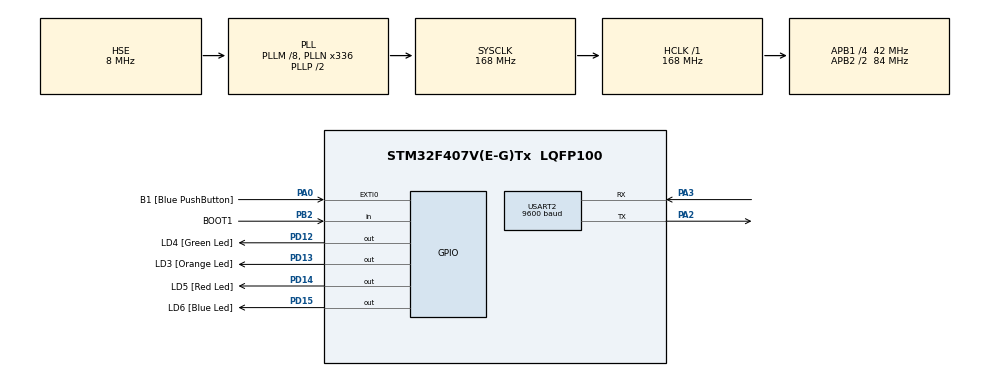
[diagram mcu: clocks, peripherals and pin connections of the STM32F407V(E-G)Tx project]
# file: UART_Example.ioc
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Mcu.Family=STM32F4
Mcu.Name=STM32F407V(E-G)Tx
Mcu.Package=LQFP100
NVIC.PriorityGroup=NVIC_PRIORITYGROUP_0
NVIC.TIM4_IRQn=true\:0\:0\:false\:false\:true\:true\:true\:true
NVIC.USART2_IRQn=true\:0\:0\:false\:false\:true\:true\:true\:true
PA0-WKUP.GPIO_Label=B1 [Blue PushButton]
PA0-WKUP.GPIO_ModeDefaultEXTI=GPIO_MODE_EVT_RISING
PA0-WKUP.GPIO_PuPd=GPIO_NOPULL
PA0-WKUP.Signal=GPXTI0
PA2.Mode=Asynchronous
PA2.Signal=USART2_TX
PA3.Mode=Asynchronous
PA3.Signal=USART2_RX
PB2.GPIO_Label=BOOT1
PB2.GPIO_Mode=GPIO_MODE_INPUT
PB2.GPIO_PuPd=GPIO_NOPULL
PB2.Signal=GPIO_Input
PC14-OSC32_IN.GPIO_Label=PC14-OSC32_IN
PC14-OSC32_IN.Mode=LSE-External-Oscillator
PC14-OSC32_IN.Signal=RCC_OSC32_IN
PC15-OSC32_OUT.GPIO_Label=PC15-OSC32_OUT
PC15-OSC32_OUT.Mode=LSE-External-Oscillator
PC15-OSC32_OUT.Signal=RCC_OSC32_OUT
PD12.GPIO_Label=LD4 [Green Led]
PD12.GPIO_PuPd=GPIO_NOPULL
PD12.GPIO_Speed=GPIO_SPEED_FREQ_LOW
PD12.Signal=GPIO_Output
PD13.GPIO_Label=LD3 [Orange Led]
PD13.GPIO_PuPd=GPIO_NOPULL
PD13.GPIO_Speed=GPIO_SPEED_FREQ_LOW
PD13.Signal=GPIO_Output
PD14.GPIO_Label=LD5 [Red Led]
PD14.GPIO_PuPd=GPIO_NOPULL
PD14.GPIO_Speed=GPIO_SPEED_FREQ_LOW
PD14.Signal=GPIO_Output
PD15.GPIO_Label=LD6 [Blue Led]
PD15.GPIO_PuPd=GPIO_NOPULL
PD15.GPIO_Speed=GPIO_SPEED_FREQ_LOW
PD15.Signal=GPIO_Output
PH0-OSC_IN.GPIO_Label=PH0-OSC_IN
PH0-OSC_IN.Mode=HSE-External-Oscillator
PH0-OSC_IN.Signal=RCC_OSC_IN
PH1-OSC_OUT.GPIO_Label=PH1-OSC_OUT
PH1-OSC_OUT.Mode=HSE-External-Oscillator
PH1-OSC_OUT.Signal=RCC_OSC_OUT
ProjectManager.HeapSize=0x200
ProjectManager.StackSize=0x400
ProjectManager.TargetToolchain=STM32CubeIDE
RCC.48MHZClocksFreq_Value=48000000
RCC.AHBFreq_Value=168000000
RCC.APB1CLKDivider=RCC_HCLK_DIV4
RCC.APB1Freq_Value=42000000
RCC.APB1TimFreq_Value=84000000
RCC.APB2CLKDivider=RCC_HCLK_DIV2
RCC.APB2Freq_Value=84000000
RCC.APB2TimFreq_Value=168000000
RCC.CortexFreq_Value=168000000
RCC.HCLKFreq_Value=168000000
RCC.HSE_VALUE=8000000
RCC.HSI_VALUE=16000000
RCC.PLLM=8
RCC.PLLN=336
RCC.PLLQ=7
RCC.PLLSourceVirtual=RCC_PLLSOURCE_HSE
RCC.SYSCLKFreq_VALUE=168000000
RCC.SYSCLKSource=RCC_SYSCLKSOURCE_PLLCLK
RCC.VCOOutputFreq_Value=336000000
TIM4.Period=8
TIM4.Prescaler=4200
USART2.BaudRate=9600
USART2.VirtualMode=VM_ASYNC
VP_TIM4_VS_ClockSourceINT.Mode=Internal
board=STM32F407G-DISC1

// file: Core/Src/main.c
/* USER CODE BEGIN Header */
/**
  ******************************************************************************
  * @file           : main.c
  * @brief          : Main program body
  ******************************************************************************
  * @attention
  *
  * Copyright (c) 2023 STMicroelectronics.
  * All rights reserved.
  *
  * This software is licensed under terms that can be found in the LICENSE file
  * in the root directory of this software component.
  * If no LICENSE file comes with this software, it is provided AS-IS.
  *
  ******************************************************************************
  */
/* USER CODE END Header */
#include "main.h"

/* USER CODE BEGIN Includes */
#include "stdio.h"

/* USER CODE END Includes */

/* USER CODE BEGIN PD */
#define BUFFER_SIZE 20

/* USER CODE END PD */

TIM_HandleTypeDef htim4;

UART_HandleTypeDef huart2;

/* USER CODE BEGIN PV */
volatile uint8_t gTimerFlag = 0;
volatile uint8_t gUartFlag = 0;
uint8_t gIncomChar;

/* USER CODE END PV */

void SystemClock_Config(void);
static void MX_GPIO_Init(void);
static void MX_TIM4_Init(void);
static void MX_USART2_UART_Init(void);

int main(void)
{
  /* USER CODE BEGIN 1 */
	char uart_buf[BUFFER_SIZE];
	//int uart_buf_len;
	//uint32_t count = 0;
	uint8_t msg = 0;

  /* USER CODE END 1 */

  /* MCU Configuration--------------------------------------------------------*/

  /* Reset of all peripherals, Initializes the Flash interface and the Systick. */
  HAL_Init();

  /* Configure the system clock */
  SystemClock_Config();

  /* Initialize all configured peripherals */
  MX_GPIO_Init();
  MX_TIM4_Init();
  MX_USART2_UART_Init();
  /* USER CODE BEGIN 2 */
  HAL_TIM_Base_Start_IT(&htim4);
  HAL_UART_Receive_IT(&huart2, &gIncomChar, 1);  // Note: Need to call it the first time

  /* USER CODE END 2 */

  /* Infinite loop */
  /* USER CODE BEGIN WHILE */
  while (1)
  {

	  if (gUartFlag == 1)
	  {
		  gUartFlag = 0;
		  msg = gIncomChar;
		  //HAL_GPIO_TogglePin(GPIOD, LD4_Pin);

		  if (msg == 'r')
		  	  {
		  		  HAL_GPIO_TogglePin(GPIOD, LD5_Pin);
		  		  msg = 0;
		  	  }
		  if (msg == 'b')
			  {
				  HAL_GPIO_TogglePin(GPIOD, LD6_Pin);
				  msg = 0;
			  }
		  if (msg == 'g')
			  {
				  HAL_GPIO_TogglePin(GPIOD, LD4_Pin);
				  msg = 0;
			  }
	  }

    /* USER CODE END WHILE */

  }
}

void SystemClock_Config(void)
{
  RCC_OscInitTypeDef RCC_OscInitStruct = {0};
  RCC_ClkInitTypeDef RCC_ClkInitStruct = {0};

  /** Configure the main internal regulator output voltage
  */
  __HAL_RCC_PWR_CLK_ENABLE();
  __HAL_PWR_VOLTAGESCALING_CONFIG(PWR_REGULATOR_VOLTAGE_SCALE1);

  /** Initializes the RCC Oscillators according to the specified parameters
  * in the RCC_OscInitTypeDef structure.
  */
  RCC_OscInitStruct.OscillatorType = RCC_OSCILLATORTYPE_HSE;
  RCC_OscInitStruct.HSEState = RCC_HSE_ON;
  RCC_OscInitStruct.PLL.PLLState = RCC_PLL_ON;
  RCC_OscInitStruct.PLL.PLLSource = RCC_PLLSOURCE_HSE;
  RCC_OscInitStruct.PLL.PLLM = 8;
  RCC_OscInitStruct.PLL.PLLN = 336;
  RCC_OscInitStruct.PLL.PLLP = RCC_PLLP_DIV2;
  RCC_OscInitStruct.PLL.PLLQ = 7;
  if (HAL_RCC_OscConfig(&RCC_OscInitStruct) != HAL_OK)
  {
    Error_Handler();
  }

  /** Initializes the CPU, AHB and APB buses clocks
  */
  RCC_ClkInitStruct.ClockType = RCC_CLOCKTYPE_HCLK|RCC_CLOCKTYPE_SYSCLK
                              |RCC_CLOCKTYPE_PCLK1|RCC_CLOCKTYPE_PCLK2;
  RCC_ClkInitStruct.SYSCLKSource = RCC_SYSCLKSOURCE_PLLCLK;
  RCC_ClkInitStruct.AHBCLKDivider = RCC_SYSCLK_DIV1;
  RCC_ClkInitStruct.APB1CLKDivider = RCC_HCLK_DIV4;
  RCC_ClkInitStruct.APB2CLKDivider = RCC_HCLK_DIV2;

  if (HAL_RCC_ClockConfig(&RCC_ClkInitStruct, FLASH_LATENCY_5) != HAL_OK)
  {
    Error_Handler();
  }
}

static void MX_TIM4_Init(void)
{

  TIM_ClockConfigTypeDef sClockSourceConfig = {0};
  TIM_MasterConfigTypeDef sMasterConfig = {0};

  htim4.Instance = TIM4;
  htim4.Init.Prescaler = 4200;
  htim4.Init.CounterMode = TIM_COUNTERMODE_UP;
  htim4.Init.Period = 8;
  htim4.Init.ClockDivision = TIM_CLOCKDIVISION_DIV1;
  htim4.Init.AutoReloadPreload = TIM_AUTORELOAD_PRELOAD_DISABLE;
  if (HAL_TIM_Base_Init(&htim4) != HAL_OK)
  {
    Error_Handler();
  }
  sClockSourceConfig.ClockSource = TIM_CLOCKSOURCE_INTERNAL;
  if (HAL_TIM_ConfigClockSource(&htim4, &sClockSourceConfig) != HAL_OK)
  {
    Error_Handler();
  }
  sMasterConfig.MasterOutputTrigger = TIM_TRGO_RESET;
  sMasterConfig.MasterSlaveMode = TIM_MASTERSLAVEMODE_DISABLE;
  if (HAL_TIMEx_MasterConfigSynchronization(&htim4, &sMasterConfig) != HAL_OK)
  {
    Error_Handler();
  }

}

static void MX_USART2_UART_Init(void)
{

  huart2.Instance = USART2;
  huart2.Init.BaudRate = 9600;
  huart2.Init.WordLength = UART_WORDLENGTH_8B;
  huart2.Init.StopBits = UART_STOPBITS_1;
  huart2.Init.Parity = UART_PARITY_NONE;
  huart2.Init.Mode = UART_MODE_TX_RX;
  huart2.Init.HwFlowCtl = UART_HWCONTROL_NONE;
  huart2.Init.OverSampling = UART_OVERSAMPLING_16;
  if (HAL_UART_Init(&huart2) != HAL_OK)
  {
    Error_Handler();
  }

}

static void MX_GPIO_Init(void)
{
  GPIO_InitTypeDef GPIO_InitStruct = {0};

  /* GPIO Ports Clock Enable */
  __HAL_RCC_GPIOC_CLK_ENABLE();
  __HAL_RCC_GPIOH_CLK_ENABLE();
  __HAL_RCC_GPIOA_CLK_ENABLE();
  __HAL_RCC_GPIOB_CLK_ENABLE();
  __HAL_RCC_GPIOD_CLK_ENABLE();

  /*Configure GPIO pin Output Level */
  HAL_GPIO_WritePin(GPIOD, LD4_Pin|LD3_Pin|LD5_Pin|LD6_Pin, GPIO_PIN_RESET);

  /*Configure GPIO pin : B1_Pin */
  GPIO_InitStruct.Pin = B1_Pin;
  GPIO_InitStruct.Mode = GPIO_MODE_EVT_RISING;
  GPIO_InitStruct.Pull = GPIO_NOPULL;
  HAL_GPIO_Init(B1_GPIO_Port, &GPIO_InitStruct);

  /*Configure GPIO pin : BOOT1_Pin */
  GPIO_InitStruct.Pin = BOOT1_Pin;
  GPIO_InitStruct.Mode = GPIO_MODE_INPUT;
  GPIO_InitStruct.Pull = GPIO_NOPULL;
  HAL_GPIO_Init(BOOT1_GPIO_Port, &GPIO_InitStruct);

  /*Configure GPIO pins : LD4_Pin LD3_Pin LD5_Pin LD6_Pin */
  GPIO_InitStruct.Pin = LD4_Pin|LD3_Pin|LD5_Pin|LD6_Pin;
  GPIO_InitStruct.Mode = GPIO_MODE_OUTPUT_PP;
  GPIO_InitStruct.Pull = GPIO_NOPULL;
  GPIO_InitStruct.Speed = GPIO_SPEED_FREQ_LOW;
  HAL_GPIO_Init(GPIOD, &GPIO_InitStruct);

}

/* USER CODE BEGIN 4 */

/**
void HAL_TIM_PeriodElapsedCallback(TIM_HandleTypeDef *htim)
{
	if(htim == &htim4)
	{
		if (__HAL_UART_GET_FLAG(&huart2,UART_FLAG_RXNE)==SET)
		{
			gTimerFlag = 1;
		}
	}
}
**/

void HAL_UART_RxCpltCallback(UART_HandleTypeDef *huart)
{
	if(huart == &huart2)
	{
		HAL_UART_Receive_IT(huart, &gIncomChar, 1);  // Prepares the Interrupt for next char
		gUartFlag = 1;
	}
}

/* USER CODE END 4 */

void Error_Handler(void)
{
  __disable_irq();
  while (1)
  {
  }
}
